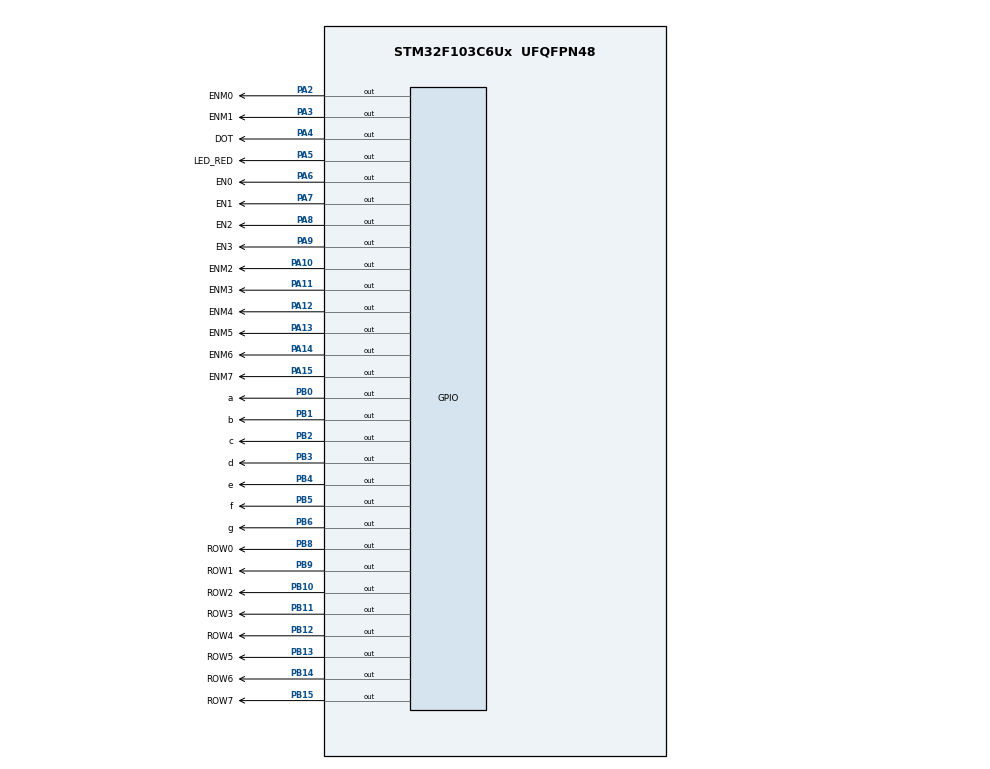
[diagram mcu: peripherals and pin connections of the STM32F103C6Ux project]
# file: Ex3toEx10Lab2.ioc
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Mcu.Family=STM32F1
Mcu.Name=STM32F103C6Ux
Mcu.Package=UFQFPN48
NVIC.PriorityGroup=NVIC_PRIORITYGROUP_4
NVIC.TIM2_IRQn=true\:0\:0\:false\:false\:true\:true\:true
PA10.GPIO_Label=ENM2
PA10.Signal=GPIO_Output
PA11.GPIO_Label=ENM3
PA11.Signal=GPIO_Output
PA12.GPIO_Label=ENM4
PA12.Signal=GPIO_Output
PA13.GPIO_Label=ENM5
PA13.Signal=GPIO_Output
PA14.GPIO_Label=ENM6
PA14.Signal=GPIO_Output
PA15.GPIO_Label=ENM7
PA15.Signal=GPIO_Output
PA2.GPIO_Label=ENM0
PA2.Signal=GPIO_Output
PA3.GPIO_Label=ENM1
PA3.Signal=GPIO_Output
PA4.GPIO_Label=DOT
PA4.Signal=GPIO_Output
PA5.GPIO_Label=LED_RED
PA5.Signal=GPIO_Output
PA6.GPIO_Label=EN0
PA6.Signal=GPIO_Output
PA7.GPIO_Label=EN1
PA7.Signal=GPIO_Output
PA8.GPIO_Label=EN2
PA8.Signal=GPIO_Output
PA9.GPIO_Label=EN3
PA9.Signal=GPIO_Output
PB0.GPIO_Label=a
PB0.Signal=GPIO_Output
PB1.GPIO_Label=b
PB1.Signal=GPIO_Output
PB10.GPIO_Label=ROW2
PB10.Signal=GPIO_Output
PB11.GPIO_Label=ROW3
PB11.Signal=GPIO_Output
PB12.GPIO_Label=ROW4
PB12.Signal=GPIO_Output
PB13.GPIO_Label=ROW5
PB13.Signal=GPIO_Output
PB14.GPIO_Label=ROW6
PB14.Signal=GPIO_Output
PB15.GPIO_Label=ROW7
PB15.Signal=GPIO_Output
PB2.GPIO_Label=c
PB2.Signal=GPIO_Output
PB3.GPIO_Label=d
PB3.Signal=GPIO_Output
PB4.GPIO_Label=e
PB4.Signal=GPIO_Output
PB5.GPIO_Label=f
PB5.Signal=GPIO_Output
PB6.GPIO_Label=g
PB6.Signal=GPIO_Output
PB8.GPIO_Label=ROW0
PB8.Signal=GPIO_Output
PB9.GPIO_Label=ROW1
PB9.Signal=GPIO_Output
ProjectManager.HeapSize=0x200
ProjectManager.StackSize=0x400
ProjectManager.TargetToolchain=STM32CubeIDE
RCC.AHBFreq_Value=8000000
RCC.APB1Freq_Value=8000000
RCC.APB1TimFreq_Value=8000000
RCC.APB2Freq_Value=8000000
RCC.APB2TimFreq_Value=8000000
RCC.HCLKFreq_Value=8000000
TIM2.Period=9
TIM2.Prescaler=7999
VP_SYS_VS_ND.Mode=No_Debug
VP_TIM2_VS_ClockSourceINT.Mode=Internal
board=custom

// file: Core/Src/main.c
/* USER CODE BEGIN Header */
/**
  ******************************************************************************
  * @file           : main.c
  * @brief          : Main program body
  ******************************************************************************
  * @attention
  *
  * <h2><center>&copy; Copyright (c) 2024 STMicroelectronics.
  * All rights reserved.</center></h2>
  *
  * This software component is licensed by ST under BSD 3-Clause license,
  * the "License"; You may not use this file except in compliance with the
  * License. You may obtain a copy of the License at:
  *                        opensource.org/licenses/BSD-3-Clause
  *
  ******************************************************************************
  */
/* USER CODE END Header */
#include "main.h"

TIM_HandleTypeDef htim2;

void SystemClock_Config(void);
static void MX_GPIO_Init(void);
static void MX_TIM2_Init(void);
void display7SEG(int num);
void update7SEG(int index);
void updateClockBuffer(int h, int m);
void updateLEDMatrix (int index );
void change_matrix_buffer();

/* USER CODE BEGIN 0 */
int TIMER_CYCLE = 10;
//Exercise 7
int timer0_counter = 0;
int timer0_flag = 0;
int timer1_counter = 0;
int timer1_flag = 0;
//Exercise 8
int timer2_counter = 0;
int timer2_flag = 0;
//Exercise 9
int timer3_counter = 0;
int timer3_flag = 0;

//timer 0 for LED_RED
void setTimer0( int duration )
{
	 timer0_counter = duration / TIMER_CYCLE ;
	 timer0_flag = 0;
}
void timer_run0()
{
	if( timer0_counter > 0)
	{
		 timer0_counter--;
		 if( timer0_counter == 0) timer0_flag = 1;
	}
}

//timer 1 for value of hour, minute, second and toggle DOT
void setTimer1(int duration)
{
  timer1_counter = duration / TIMER_CYCLE;
  timer1_flag = 0;
}
void timer_run1()
{
  if (timer1_counter > 0)
  {
     timer1_counter--;
     if (timer1_counter == 0)
       timer1_flag = 1;
  }
}

//timer 2 for update7SEG
void setTimer2(int duration)
{
  timer2_counter = duration / TIMER_CYCLE;
  timer2_flag = 0;
}
void timer_run2()
{
  if (timer2_counter > 0)
  {
     timer2_counter--;
     if (timer2_counter == 0)
       timer2_flag = 1;
  }
}

//timer 3 for updateLEDMatrix
void setTimer3(int duration)
{
  timer3_counter = duration / TIMER_CYCLE;
  timer3_flag = 0;
}
void timer_run3()
{
  if (timer3_counter > 0)
  {
     timer3_counter--;
     if (timer3_counter == 0)
       timer3_flag = 1;
  }
}

/* USER CODE END 0 */

int main(void)
{

  /* MCU Configuration--------------------------------------------------------*/

  /* Reset of all peripherals, Initializes the Flash interface and the Systick. */
  HAL_Init();

  /* Configure the system clock */
  SystemClock_Config();

  /* Initialize all configured peripherals */
  MX_GPIO_Init();
  MX_TIM2_Init();
  /* USER CODE BEGIN 2 */
  HAL_TIM_Base_Start_IT(&htim2);
  /* USER CODE END 2 */

  /* Infinite loop */
  /* USER CODE BEGIN WHILE */
  int hour = 15, minute = 8, second = 50; //Exercise 5
  setTimer0(1000); //Exercise 7
  setTimer1(1000); //Exercise 7
  setTimer2(250);  //Exercise 8
  setTimer3(250);  //Exercise 9

  int index_led = 0;
  int index_led_matrix = 0; //Exercise 9
  while (1)
  {
    /* USER CODE END WHILE */

    /* USER CODE BEGIN 3 */

	  //TODO for timer0
	  if (timer0_flag == 1)
	  {
	       HAL_GPIO_TogglePin(LED_RED_GPIO_Port, LED_RED_Pin);
	       setTimer0(1000);
	  }

	  //TODO for timer1
		//Exercise 5
	  if (timer1_flag == 1)
	  {
	    second++;
	    if(second >= 60)
	    {
	    	second = 0;
	    	minute++;
	    }
	    if(minute >= 60)
	    {
	    	minute = 0;
	    	hour++;
	    }
	    if(hour >= 24)
	    {
	    	hour = 0;
	    }
	    updateClockBuffer(hour, minute);
	    HAL_GPIO_TogglePin(DOT_GPIO_Port, DOT_Pin);
        setTimer1(1000);
	    //HAL_Delay(1000); //Exercise 5
	  }

	  //TODO for timer2
	  if (timer2_flag == 1)
	  {
		  update7SEG(index_led++);
	      if (index_led > 3)
	      {
	    	  index_led = 0;
	      }
	      setTimer2(250);
	  }

	  //TODO for timer3
	  if (timer3_flag == 1)
	  {
		  if (index_led_matrix > 7)
	      {
//			  change_matrix_buffer();//Exercise 10
			  index_led_matrix = 0;
	      }
	      updateLEDMatrix(index_led_matrix++);
	      setTimer3(250);
	  }
  }
  /* USER CODE END 3 */
}

void display7SEG(int num)
{

  if (num == 1)
  {
    HAL_GPIO_WritePin(a_GPIO_Port, a_Pin, GPIO_PIN_SET);
    HAL_GPIO_WritePin(b_GPIO_Port, b_Pin, GPIO_PIN_RESET);
    HAL_GPIO_WritePin(c_GPIO_Port, c_Pin, GPIO_PIN_RESET);
    HAL_GPIO_WritePin(d_GPIO_Port, d_Pin, GPIO_PIN_SET);
    HAL_GPIO_WritePin(e_GPIO_Port, e_Pin, GPIO_PIN_SET);
    HAL_GPIO_WritePin(f_GPIO_Port, f_Pin, GPIO_PIN_SET);
    HAL_GPIO_WritePin(g_GPIO_Port, g_Pin, GPIO_PIN_SET);
  }

  else if (num == 2)
  {
    HAL_GPIO_WritePin(a_GPIO_Port, a_Pin, GPIO_PIN_RESET);
    HAL_GPIO_WritePin(b_GPIO_Port, b_Pin, GPIO_PIN_RESET);
    HAL_GPIO_WritePin(c_GPIO_Port, c_Pin, GPIO_PIN_SET);
    HAL_GPIO_WritePin(d_GPIO_Port, d_Pin, GPIO_PIN_RESET);
    HAL_GPIO_WritePin(e_GPIO_Port, e_Pin, GPIO_PIN_RESET);
    HAL_GPIO_WritePin(f_GPIO_Port, f_Pin, GPIO_PIN_SET);
    HAL_GPIO_WritePin(g_GPIO_Port, g_Pin, GPIO_PIN_RESET);
  }

  else if (num == 3)
  {
    HAL_GPIO_WritePin(a_GPIO_Port, a_Pin, GPIO_PIN_RESET);
    HAL_GPIO_WritePin(b_GPIO_Port, b_Pin, GPIO_PIN_RESET);
    HAL_GPIO_WritePin(c_GPIO_Port, c_Pin, GPIO_PIN_RESET);
    HAL_GPIO_WritePin(d_GPIO_Port, d_Pin, GPIO_PIN_RESET);
    HAL_GPIO_WritePin(e_GPIO_Port, e_Pin, GPIO_PIN_SET);
    HAL_GPIO_WritePin(f_GPIO_Port, f_Pin, GPIO_PIN_SET);
    HAL_GPIO_WritePin(g_GPIO_Port, g_Pin, GPIO_PIN_RESET);
  }

  else if (num == 4)
  {
    HAL_GPIO_WritePin(a_GPIO_Port, a_Pin, GPIO_PIN_SET);
    HAL_GPIO_WritePin(b_GPIO_Port, b_Pin, GPIO_PIN_RESET);
    HAL_GPIO_WritePin(c_GPIO_Port, c_Pin, GPIO_PIN_RESET);
    HAL_GPIO_WritePin(d_GPIO_Port, d_Pin, GPIO_PIN_SET);
    HAL_GPIO_WritePin(e_GPIO_Port, e_Pin, GPIO_PIN_SET);
    HAL_GPIO_WritePin(f_GPIO_Port, f_Pin, GPIO_PIN_RESET);
    HAL_GPIO_WritePin(g_GPIO_Port, g_Pin, GPIO_PIN_RESET);
  }

  else if (num == 5)
  {
    HAL_GPIO_WritePin(a_GPIO_Port, a_Pin, GPIO_PIN_RESET);
    HAL_GPIO_WritePin(b_GPIO_Port, b_Pin, GPIO_PIN_SET);
    HAL_GPIO_WritePin(c_GPIO_Port, c_Pin, GPIO_PIN_RESET);
    HAL_GPIO_WritePin(d_GPIO_Port, d_Pin, GPIO_PIN_RESET);
    HAL_GPIO_WritePin(e_GPIO_Port, e_Pin, GPIO_PIN_SET);
    HAL_GPIO_WritePin(f_GPIO_Port, f_Pin, GPIO_PIN_RESET);
    HAL_GPIO_WritePin(g_GPIO_Port, g_Pin, GPIO_PIN_RESET);
  }

  else if (num == 6)
  {
    HAL_GPIO_WritePin(a_GPIO_Port, a_Pin, GPIO_PIN_RESET);
    HAL_GPIO_WritePin(b_GPIO_Port, b_Pin, GPIO_PIN_SET);
    HAL_GPIO_WritePin(c_GPIO_Port, c_Pin, GPIO_PIN_RESET);
    HAL_GPIO_WritePin(d_GPIO_Port, d_Pin, GPIO_PIN_RESET);
    HAL_GPIO_WritePin(e_GPIO_Port, e_Pin, GPIO_PIN_RESET);
    HAL_GPIO_WritePin(f_GPIO_Port, f_Pin, GPIO_PIN_RESET);
    HAL_GPIO_WritePin(g_GPIO_Port, g_Pin, GPIO_PIN_RESET);
  }

  else if (num == 7)
  {
    HAL_GPIO_WritePin(a_GPIO_Port, a_Pin, GPIO_PIN_RESET);
    HAL_GPIO_WritePin(b_GPIO_Port, b_Pin, GPIO_PIN_RESET);
    HAL_GPIO_WritePin(c_GPIO_Port, c_Pin, GPIO_PIN_RESET);
    HAL_GPIO_WritePin(d_GPIO_Port, d_Pin, GPIO_PIN_SET);
    HAL_GPIO_WritePin(e_GPIO_Port, e_Pin, GPIO_PIN_SET);
    HAL_GPIO_WritePin(f_GPIO_Port, f_Pin, GPIO_PIN_SET);
    HAL_GPIO_WritePin(g_GPIO_Port, g_Pin, GPIO_PIN_SET);
  }

  else if (num == 8)
  {
    HAL_GPIO_WritePin(a_GPIO_Port, a_Pin, GPIO_PIN_RESET);
    HAL_GPIO_WritePin(b_GPIO_Port, b_Pin, GPIO_PIN_RESET);
    HAL_GPIO_WritePin(c_GPIO_Port, c_Pin, GPIO_PIN_RESET);
    HAL_GPIO_WritePin(d_GPIO_Port, d_Pin, GPIO_PIN_RESET);
    HAL_GPIO_WritePin(e_GPIO_Port, e_Pin, GPIO_PIN_RESET);
    HAL_GPIO_WritePin(f_GPIO_Port, f_Pin, GPIO_PIN_RESET);
    HAL_GPIO_WritePin(g_GPIO_Port, g_Pin, GPIO_PIN_RESET);
  }

  else if (num == 9)
  {
    HAL_GPIO_WritePin(a_GPIO_Port, a_Pin, GPIO_PIN_RESET);
    HAL_GPIO_WritePin(b_GPIO_Port, b_Pin, GPIO_PIN_RESET);
    HAL_GPIO_WritePin(c_GPIO_Port, c_Pin, GPIO_PIN_RESET);
    HAL_GPIO_WritePin(d_GPIO_Port, d_Pin, GPIO_PIN_RESET);
    HAL_GPIO_WritePin(e_GPIO_Port, e_Pin, GPIO_PIN_SET);
    HAL_GPIO_WritePin(f_GPIO_Port, f_Pin, GPIO_PIN_RESET);
    HAL_GPIO_WritePin(g_GPIO_Port, g_Pin, GPIO_PIN_RESET);
  }
  else if (num == 0)
  {
    HAL_GPIO_WritePin(a_GPIO_Port, a_Pin, GPIO_PIN_RESET);
    HAL_GPIO_WritePin(b_GPIO_Port, b_Pin, GPIO_PIN_RESET);
    HAL_GPIO_WritePin(c_GPIO_Port, c_Pin, GPIO_PIN_RESET);
    HAL_GPIO_WritePin(d_GPIO_Port, d_Pin, GPIO_PIN_RESET);
    HAL_GPIO_WritePin(e_GPIO_Port, e_Pin, GPIO_PIN_RESET);
    HAL_GPIO_WritePin(f_GPIO_Port, f_Pin, GPIO_PIN_RESET);
    HAL_GPIO_WritePin(g_GPIO_Port, g_Pin, GPIO_PIN_SET);
  }
}
int led_buffer[4] = {0, 0, 0, 0};
//Exercise3
const int MAX_LED = 4;
int index_led = 0;
//int led_buffer [4] = {1, 2, 3, 4};
void update7SEG(int index)
{
  switch (index)
  {
  case 0:
    // Display the first 7 SEG with led_buffer [0]
    HAL_GPIO_WritePin(EN0_GPIO_Port, EN0_Pin, GPIO_PIN_RESET);
    HAL_GPIO_WritePin(EN1_GPIO_Port, EN1_Pin, GPIO_PIN_SET);
    HAL_GPIO_WritePin(EN2_GPIO_Port, EN2_Pin, GPIO_PIN_SET);
    HAL_GPIO_WritePin(EN3_GPIO_Port, EN3_Pin, GPIO_PIN_SET);
    display7SEG(led_buffer[0]);
    break;
  case 1:
    // Display the second 7 SEG with led_buffer [1]
    HAL_GPIO_WritePin(EN0_GPIO_Port, EN0_Pin, GPIO_PIN_SET);
    HAL_GPIO_WritePin(EN1_GPIO_Port, EN1_Pin, GPIO_PIN_RESET);
    HAL_GPIO_WritePin(EN2_GPIO_Port, EN2_Pin, GPIO_PIN_SET);
    HAL_GPIO_WritePin(EN3_GPIO_Port, EN3_Pin, GPIO_PIN_SET);
    display7SEG(led_buffer[1]);
    break;
  case 2:
    // Display the third 7 SEG with led_buffer [2]
    HAL_GPIO_WritePin(EN0_GPIO_Port, EN0_Pin, GPIO_PIN_SET);
    HAL_GPIO_WritePin(EN1_GPIO_Port, EN1_Pin, GPIO_PIN_SET);
    HAL_GPIO_WritePin(EN2_GPIO_Port, EN2_Pin, GPIO_PIN_RESET);
    HAL_GPIO_WritePin(EN3_GPIO_Port, EN3_Pin, GPIO_PIN_SET);
    display7SEG(led_buffer[2]);
    break;
  case 3:
    // Display the forth 7 SEG with led_buffer [3]
    HAL_GPIO_WritePin(EN0_GPIO_Port, EN0_Pin, GPIO_PIN_SET);
    HAL_GPIO_WritePin(EN1_GPIO_Port, EN1_Pin, GPIO_PIN_SET);
    HAL_GPIO_WritePin(EN2_GPIO_Port, EN2_Pin, GPIO_PIN_SET);
    HAL_GPIO_WritePin(EN3_GPIO_Port, EN3_Pin, GPIO_PIN_RESET);
    display7SEG(led_buffer[3]);
    break;
  default:
    break;
  }
}
//Exercise 5
//int led_buffer[4] = {0, 0, 0, 0};
void updateClockBuffer(int h, int m)
{

  if (m <= 9)
  {
    led_buffer[3] = m;
    led_buffer[2] = 0;
  }
  else
  {
    led_buffer[3] = m % 10;
    led_buffer[2] = m / 10;
  }
  if (h <= 9)
  {
    led_buffer[1] = h;
    led_buffer[0] = 0;
  }
  else
  {
    led_buffer[1] = h % 10;
    led_buffer[0] = h / 10;
  }
}
//Exercise 9
const int MAX_LED_MATRIX = 8;
uint8_t matrix_buffer[8] = {0x00, 0xFC, 0xfe, 0x33, 0x33, 0xFE, 0xFC, 0x00};
void updateLEDMatrix (int index)
{
	switch (index) {
	case 0:
		HAL_GPIO_WritePin(ENM0_GPIO_Port, ENM0_Pin, RESET);
		HAL_GPIO_WritePin(GPIOA, ENM1_Pin|ENM2_Pin|ENM3_Pin|ENM4_Pin|ENM5_Pin|ENM6_Pin|ENM7_Pin, SET);
		HAL_GPIO_WritePin(GPIOB, 0xff<<8, SET);
		HAL_GPIO_WritePin(GPIOB, matrix_buffer[index]<<8, RESET);
		break ;
	case 1:
		HAL_GPIO_WritePin(ENM1_GPIO_Port, ENM1_Pin, RESET);
		HAL_GPIO_WritePin(GPIOA, ENM0_Pin|ENM2_Pin|ENM3_Pin|ENM4_Pin|ENM5_Pin|ENM6_Pin|ENM7_Pin, SET);
		HAL_GPIO_WritePin(GPIOB, 0xff<<8, SET);
		HAL_GPIO_WritePin(GPIOB, matrix_buffer[index]<<8, RESET);
		break;
	case 2:
		HAL_GPIO_WritePin(ENM2_GPIO_Port, ENM2_Pin, RESET);
		HAL_GPIO_WritePin(GPIOA, ENM0_Pin|ENM1_Pin| ENM3_Pin|ENM4_Pin|ENM5_Pin|ENM6_Pin|ENM7_Pin, SET);
		HAL_GPIO_WritePin(GPIOB, 0xff<<8, SET);
		HAL_GPIO_WritePin(GPIOB, matrix_buffer[index]<<8, RESET);
		break;
	case 3:
		HAL_GPIO_WritePin(ENM3_GPIO_Port, ENM3_Pin, RESET);
		HAL_GPIO_WritePin(GPIOA, ENM0_Pin|ENM1_Pin|ENM2_Pin|ENM4_Pin|ENM5_Pin|ENM6_Pin|ENM7_Pin, SET);
		HAL_GPIO_WritePin(GPIOB, 0xff<<8, SET);
		HAL_GPIO_WritePin(GPIOB, matrix_buffer[index]<<8, RESET);
		break;
	case 4:
		HAL_GPIO_WritePin(ENM4_GPIO_Port, ENM4_Pin, RESET);
		HAL_GPIO_WritePin(GPIOA, ENM0_Pin|ENM1_Pin|ENM2_Pin|ENM3_Pin|ENM5_Pin|ENM6_Pin|ENM7_Pin, SET);
		HAL_GPIO_WritePin(GPIOB, 0xff<<8, SET);
		HAL_GPIO_WritePin(GPIOB, matrix_buffer[index]<<8, RESET);
		break;
	case 5:
		HAL_GPIO_WritePin(ENM5_GPIO_Port, ENM5_Pin, RESET);
		HAL_GPIO_WritePin(GPIOA, ENM0_Pin|ENM1_Pin|ENM2_Pin|ENM3_Pin|ENM4_Pin|ENM6_Pin|ENM7_Pin, SET);
		HAL_GPIO_WritePin(GPIOB, 0xff<<8, SET);
		HAL_GPIO_WritePin(GPIOB, matrix_buffer[index]<<8, RESET);
		break;
	case 6:
		HAL_GPIO_WritePin(ENM6_GPIO_Port, ENM6_Pin, RESET);
		HAL_GPIO_WritePin(GPIOA, ENM0_Pin|ENM1_Pin|ENM2_Pin|ENM3_Pin|ENM4_Pin|ENM5_Pin|ENM7_Pin, SET);
		HAL_GPIO_WritePin(GPIOB, 0xff<<8, SET);
		HAL_GPIO_WritePin(GPIOB, matrix_buffer[index]<<8, RESET);
		break;
	case 7:
		HAL_GPIO_WritePin(ENM7_GPIO_Port, ENM7_Pin, RESET);
		HAL_GPIO_WritePin(GPIOA, ENM0_Pin|ENM1_Pin|ENM2_Pin|ENM3_Pin|ENM4_Pin|ENM5_Pin|ENM6_Pin, SET);
		HAL_GPIO_WritePin(GPIOB, 0xff<<8, SET);
		HAL_GPIO_WritePin(GPIOB, matrix_buffer[index]<<8, RESET);
		break;
	default:
		break;
	}
}

//Exercise 10
void change_matrix_buffer()
{
	int temp;
	temp = matrix_buffer[0];
	int var;
	for(uint8_t i = 0; i<8; ++i){
		var = matrix_buffer[i];
		matrix_buffer[i] = matrix_buffer[i+1];
		matrix_buffer[i + 1] = var;
	}
	matrix_buffer[7] = temp;
}
void SystemClock_Config(void)
{
  RCC_OscInitTypeDef RCC_OscInitStruct = {0};
  RCC_ClkInitTypeDef RCC_ClkInitStruct = {0};

  /** Initializes the RCC Oscillators according to the specified parameters
  * in the RCC_OscInitTypeDef structure.
  */
  RCC_OscInitStruct.OscillatorType = RCC_OSCILLATORTYPE_HSI;
  RCC_OscInitStruct.HSIState = RCC_HSI_ON;
  RCC_OscInitStruct.HSICalibrationValue = RCC_HSICALIBRATION_DEFAULT;
  RCC_OscInitStruct.PLL.PLLState = RCC_PLL_NONE;
  if (HAL_RCC_OscConfig(&RCC_OscInitStruct) != HAL_OK)
  {
    Error_Handler();
  }
  /** Initializes the CPU, AHB and APB buses clocks
  */
  RCC_ClkInitStruct.ClockType = RCC_CLOCKTYPE_HCLK|RCC_CLOCKTYPE_SYSCLK
                              |RCC_CLOCKTYPE_PCLK1|RCC_CLOCKTYPE_PCLK2;
  RCC_ClkInitStruct.SYSCLKSource = RCC_SYSCLKSOURCE_HSI;
  RCC_ClkInitStruct.AHBCLKDivider = RCC_SYSCLK_DIV1;
  RCC_ClkInitStruct.APB1CLKDivider = RCC_HCLK_DIV1;
  RCC_ClkInitStruct.APB2CLKDivider = RCC_HCLK_DIV1;

  if (HAL_RCC_ClockConfig(&RCC_ClkInitStruct, FLASH_LATENCY_0) != HAL_OK)
  {
    Error_Handler();
  }
}

static void MX_TIM2_Init(void)
{

  TIM_ClockConfigTypeDef sClockSourceConfig = {0};
  TIM_MasterConfigTypeDef sMasterConfig = {0};

  htim2.Instance = TIM2;
  htim2.Init.Prescaler = 7999;
  htim2.Init.CounterMode = TIM_COUNTERMODE_UP;
  htim2.Init.Period = 9;
  htim2.Init.ClockDivision = TIM_CLOCKDIVISION_DIV1;
  htim2.Init.AutoReloadPreload = TIM_AUTORELOAD_PRELOAD_DISABLE;
  if (HAL_TIM_Base_Init(&htim2) != HAL_OK)
  {
    Error_Handler();
  }
  sClockSourceConfig.ClockSource = TIM_CLOCKSOURCE_INTERNAL;
  if (HAL_TIM_ConfigClockSource(&htim2, &sClockSourceConfig) != HAL_OK)
  {
    Error_Handler();
  }
  sMasterConfig.MasterOutputTrigger = TIM_TRGO_RESET;
  sMasterConfig.MasterSlaveMode = TIM_MASTERSLAVEMODE_DISABLE;
  if (HAL_TIMEx_MasterConfigSynchronization(&htim2, &sMasterConfig) != HAL_OK)
  {
    Error_Handler();
  }

}

static void MX_GPIO_Init(void)
{
  GPIO_InitTypeDef GPIO_InitStruct = {0};

  /* GPIO Ports Clock Enable */
  __HAL_RCC_GPIOA_CLK_ENABLE();
  __HAL_RCC_GPIOB_CLK_ENABLE();

  /*Configure GPIO pin Output Level */
  HAL_GPIO_WritePin(GPIOA, ENM0_Pin|ENM1_Pin|DOT_Pin|LED_RED_Pin
                          |EN0_Pin|EN1_Pin|EN2_Pin|EN3_Pin
                          |ENM2_Pin|ENM3_Pin|ENM4_Pin|ENM5_Pin
                          |ENM6_Pin|ENM7_Pin, GPIO_PIN_RESET);

  /*Configure GPIO pin Output Level */
  HAL_GPIO_WritePin(GPIOB, a_Pin|b_Pin|c_Pin|ROW2_Pin
                          |ROW3_Pin|ROW4_Pin|ROW5_Pin|ROW6_Pin
                          |ROW7_Pin|d_Pin|e_Pin|f_Pin
                          |g_Pin|ROW0_Pin|ROW1_Pin, GPIO_PIN_RESET);

  /*Configure GPIO pins : ENM0_Pin ENM1_Pin DOT_Pin LED_RED_Pin
                           EN0_Pin EN1_Pin EN2_Pin EN3_Pin
                           ENM2_Pin ENM3_Pin ENM4_Pin ENM5_Pin
                           ENM6_Pin ENM7_Pin */
  GPIO_InitStruct.Pin = ENM0_Pin|ENM1_Pin|DOT_Pin|LED_RED_Pin
                          |EN0_Pin|EN1_Pin|EN2_Pin|EN3_Pin
                          |ENM2_Pin|ENM3_Pin|ENM4_Pin|ENM5_Pin
                          |ENM6_Pin|ENM7_Pin;
  GPIO_InitStruct.Mode = GPIO_MODE_OUTPUT_PP;
  GPIO_InitStruct.Pull = GPIO_NOPULL;
  GPIO_InitStruct.Speed = GPIO_SPEED_FREQ_LOW;
  HAL_GPIO_Init(GPIOA, &GPIO_InitStruct);

  /*Configure GPIO pins : a_Pin b_Pin c_Pin ROW2_Pin
                           ROW3_Pin ROW4_Pin ROW5_Pin ROW6_Pin
                           ROW7_Pin d_Pin e_Pin f_Pin
                           g_Pin ROW0_Pin ROW1_Pin */
  GPIO_InitStruct.Pin = a_Pin|b_Pin|c_Pin|ROW2_Pin
                          |ROW3_Pin|ROW4_Pin|ROW5_Pin|ROW6_Pin
                          |ROW7_Pin|d_Pin|e_Pin|f_Pin
                          |g_Pin|ROW0_Pin|ROW1_Pin;
  GPIO_InitStruct.Mode = GPIO_MODE_OUTPUT_PP;
  GPIO_InitStruct.Pull = GPIO_NOPULL;
  GPIO_InitStruct.Speed = GPIO_SPEED_FREQ_LOW;
  HAL_GPIO_Init(GPIOB, &GPIO_InitStruct);

}

/* USER CODE BEGIN 4 */
//int counter = 25; //Exercise 4
//int counter1 = 100;
void HAL_TIM_PeriodElapsedCallback(TIM_HandleTypeDef *htim)
{
//	counter--;
//	if(counter <= 0)
//	{
//		counter = 25; //Exercise 4
//		update7SEG(index_led++);
//		if(index_led > 3)
//		{
//			index_led = 0;
//		}
//	}
//	counter1--;
//	if (counter1 <= 0)
//	{
//		counter1 = 100;
//		HAL_GPIO_TogglePin(LED_RED_GPIO_Port, LED_RED_Pin);
//		HAL_GPIO_TogglePin(DOT_GPIO_Port, DOT_Pin);
//	}
	  timer_run0();
	  timer_run1();
	  timer_run2();
	  timer_run3();
}
/* USER CODE END 4 */

void Error_Handler(void)
{
  __disable_irq();
  while (1)
  {
  }
}

/************************ (C) COPYRIGHT STMicroelectronics *****END OF FILE****/
